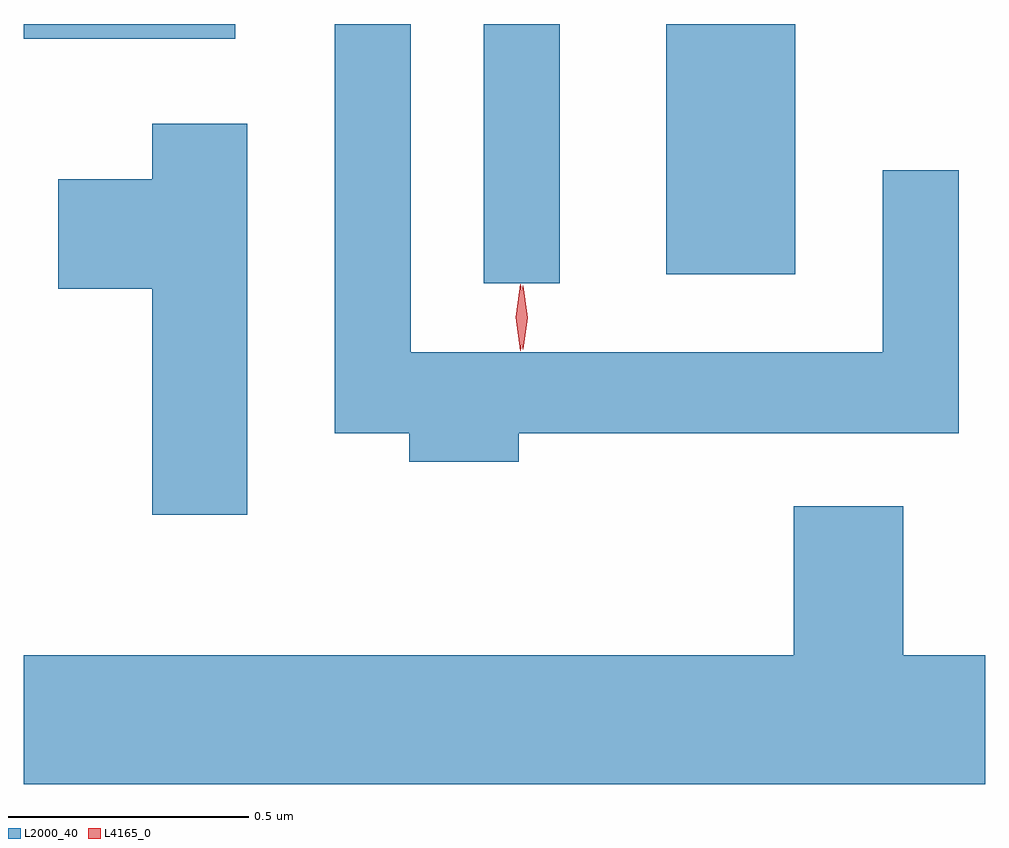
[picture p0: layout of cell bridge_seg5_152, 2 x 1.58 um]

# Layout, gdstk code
import gdstk
lib = gdstk.Library(unit=1e-6, precision=1e-09)
def R(c, l, rs):  # rectangles x0, y0, x1, y1
    for r in rs: c.add(gdstk.rectangle(r[:2], r[2:], *l))
def P(c, l, *ps):  # polygons
    for p in ps: c.add(gdstk.Polygon(p, *l))
L2000_40 = (2000, 40)
L4165_0 = (4165, 0)

bridge_seg5_152 = lib.new_cell('bridge_seg5_152')
R(bridge_seg5_152, L2000_40, [(1219.426,1415.658,1219.584,1416.197), (1219.806,1415.676,1220.074,1416.197), (1218.469,1416.166,1218.909,1416.197)])
P(bridge_seg5_152, L2000_40, [(1219.499,1415.346),(1220.414,1415.346),(1220.414,1415.893),(1220.256,1415.893),(1220.256,1415.514),(1219.274,1415.514),(1219.274,1416.197),(1219.116,1416.197),(1219.116,1415.346),(1219.271,1415.346),(1219.271,1415.286),(1219.499,1415.286)],
  [(1218.934,1415.989),(1218.736,1415.989),(1218.736,1415.874),(1218.541,1415.874),(1218.541,1415.646),(1218.736,1415.646),(1218.736,1415.176),(1218.934,1415.176)],
  [(1220.469,1414.884),(1220.299,1414.884),(1220.299,1415.194),(1220.071,1415.194),(1220.071,1414.884),(1218.469,1414.884),(1218.469,1414.616),(1220.469,1414.616)])
P(bridge_seg5_152, L4165_0, [(1219.507,1415.52),(1219.507,1415.52),(1219.497,1415.586),(1219.507,1415.652),(1219.507,1415.653),(1219.508,1415.652),(1219.517,1415.586),(1219.508,1415.52)],
  [(1219.502,1415.517),(1219.502,1415.517),(1219.492,1415.587),(1219.502,1415.656),(1219.502,1415.656),(1219.503,1415.656),(1219.512,1415.587),(1219.503,1415.517)])

lib.write_gds('bridge_seg5_152.gds')
